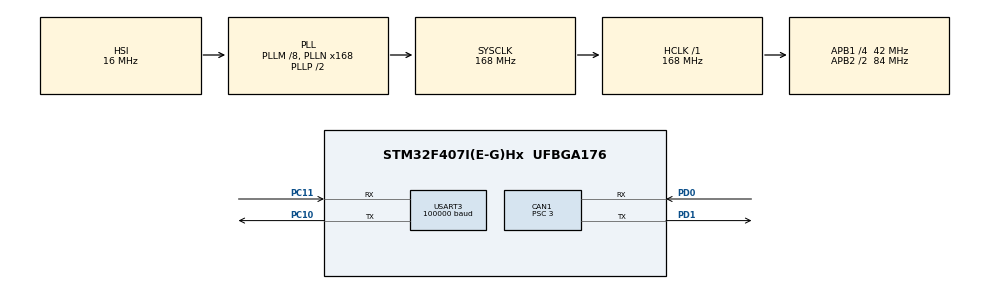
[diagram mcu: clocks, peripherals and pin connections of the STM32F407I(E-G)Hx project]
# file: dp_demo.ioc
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CAN1.ABOM=ENABLE
CAN1.BS1=CAN_BS1_10TQ
CAN1.BS2=CAN_BS2_3TQ
CAN1.CalculateBaudRate=1000000
CAN1.CalculateTimeBit=1000
CAN1.CalculateTimeQuantum=71.42857142857143
CAN1.Prescaler=3
Dma.Request0=USART3_RX
Dma.USART3_RX.0.Direction=DMA_PERIPH_TO_MEMORY
Dma.USART3_RX.0.FIFOMode=DMA_FIFOMODE_DISABLE
Dma.USART3_RX.0.Instance=DMA1_Stream1
Dma.USART3_RX.0.MemDataAlignment=DMA_MDATAALIGN_BYTE
Dma.USART3_RX.0.MemInc=DMA_MINC_ENABLE
Dma.USART3_RX.0.Mode=DMA_CIRCULAR
Dma.USART3_RX.0.PeriphDataAlignment=DMA_PDATAALIGN_BYTE
Dma.USART3_RX.0.PeriphInc=DMA_PINC_DISABLE
Dma.USART3_RX.0.Priority=DMA_PRIORITY_LOW
Mcu.Family=STM32F4
Mcu.Name=STM32F407I(E-G)Hx
Mcu.Package=UFBGA176
NVIC.DMA1_Stream1_IRQn=true\:0\:0\:false\:false\:true\:false\:true\:true
NVIC.PriorityGroup=NVIC_PRIORITYGROUP_4
NVIC.USART3_IRQn=true\:0\:0\:false\:false\:true\:true\:true\:true
PA13.Mode=Serial_Wire
PA13.Signal=SYS_JTMS-SWDIO
PA14.Mode=Serial_Wire
PA14.Signal=SYS_JTCK-SWCLK
PC10.Mode=Asynchronous
PC10.Signal=USART3_TX
PC11.Mode=Asynchronous
PC11.Signal=USART3_RX
PD0.Mode=CAN_Activate
PD0.Signal=CAN1_RX
PD1.Mode=CAN_Activate
PD1.Signal=CAN1_TX
PH0-OSC_IN.Mode=HSE-External-Oscillator
PH0-OSC_IN.Signal=RCC_OSC_IN
PH1-OSC_OUT.Mode=HSE-External-Oscillator
PH1-OSC_OUT.Signal=RCC_OSC_OUT
ProjectManager.HeapSize=0x200
ProjectManager.StackSize=0x400
ProjectManager.TargetToolchain=CMake
RCC.48MHZClocksFreq_Value=84000000
RCC.AHBFreq_Value=168000000
RCC.APB1CLKDivider=RCC_HCLK_DIV4
RCC.APB1Freq_Value=42000000
RCC.APB1TimFreq_Value=84000000
RCC.APB2CLKDivider=RCC_HCLK_DIV2
RCC.APB2Freq_Value=84000000
RCC.APB2TimFreq_Value=168000000
RCC.CortexFreq_Value=168000000
RCC.HCLKFreq_Value=168000000
RCC.HSE_VALUE=12000000
RCC.HSI_VALUE=16000000
RCC.LSE_VALUE=32768
RCC.PLLM=8
RCC.PLLN=168
RCC.SYSCLKFreq_VALUE=168000000
RCC.SYSCLKSource=RCC_SYSCLKSOURCE_PLLCLK
RCC.VCOOutputFreq_Value=336000000
USART3.BaudRate=100000
USART3.VirtualMode=VM_ASYNC
board=custom

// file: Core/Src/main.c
/* USER CODE BEGIN Header */
/**
  ******************************************************************************
  * @file           : main.c
  * @brief          : Main program body
  ******************************************************************************
  * @attention
  *
  * Copyright (c) 2025 STMicroelectronics.
  * All rights reserved.
  *
  * This software is licensed under terms that can be found in the LICENSE file
  * in the root directory of this software component.
  * If no LICENSE file comes with this software, it is provided AS-IS.
  *
  ******************************************************************************
  */
/* USER CODE END Header */
#include "main.h"
#include "can.h"
#include "dma.h"
#include "usart.h"
#include "gpio.h"

/* USER CODE BEGIN Includes */
#include "my_can.h"
#include "app_tasks.h"
#include "dbus.h"
#include "bsp_uart.h"
/* USER CODE END Includes */

void SystemClock_Config(void);

int main(void)
{

  /* MCU Configuration--------------------------------------------------------*/

  /* Reset of all peripherals, Initializes the Flash interface and the Systick. */
  HAL_Init();

  /* Configure the system clock */
  SystemClock_Config();

  /* Initialize all configured peripherals */
  MX_GPIO_Init();
  MX_DMA_Init();
  MX_CAN1_Init();
  MX_USART3_UART_Init();
  /* USER CODE BEGIN 2 */
  /* 初始化系统组件 */
  my_can_system_init();
  chassis_task_init();
  gimbal_task_init();

  /* 初始化DBUS双缓冲区串口系统 */
  HAL_Delay(100);  // 等待系统稳定
  DBUS_Init();

  /* 定义运动控制变量 */
  int16_t vx = 0, vy = 0, vw = 0;
  /* USER CODE END 2 */

  /* Infinite loop */
  while (1)
  {

    /* USER CODE BEGIN 3 */
    /* 监控遥控器连接状态 */
    Remote_Message_Moniter(&remote_ctrl);

    /* 静态变量用于状态变化检测 */
    static bool last_rc_status = true;  // 上次遥控器状态

    /* 检查遥控器连接状态变化 */
    if (last_rc_status != remote_ctrl.rc_lost)
    {
        last_rc_status = remote_ctrl.rc_lost;
    }

    /* 检查遥控器是否在线 */
    if (!remote_ctrl.rc_lost)
    {
        /* 左拨杆控制前后左右移动
         * remote_ctrl.rc.ch[1]: ���拨杆Y轴（前后）- 向上为正（前进）
         * remote_ctrl.rc.ch[0]: 左拨杆X轴（左右）- 向右为正（右移）
         * remote_ctrl.rc.ch[2]: 右拨杆X轴（旋转）- 向右为正（顺时针）
         * 遥控器数据范围: -660 到 +660
         */

        /* 前后控制（Y轴）- 向上推为前进 */
        vx = remote_ctrl.rc.ch[1] * 500 / 660;

        /* 左右控制（X轴）- 向右推为右移 */
        vy = remote_ctrl.rc.ch[0] * 500 / 660;

        /* 旋转控制（右拨杆X轴）- 可选功能 */
        if (switch_is_up(remote_ctrl.rc.s[0]))  // 左开关在上位时启用旋转
        {
            vw = remote_ctrl.rc.ch[2] * 300 / 660;
        }
        else
        {
            vw = 0;  // 其他情况下禁用旋转
        }

        /* 限制最大速度 */
        if (vx > 500) vx = 500;
        if (vx < -500) vx = -500;
        if (vy > 500) vy = 500;
        if (vy < -500) vy = -500;
        if (vw > 300) vw = 300;
        if (vw < -300) vw = -300;

    }
    else
    {
        /* 遥控器离线，停止运动 */
        vx = vy = vw = 0;
    }

    /* 设置底盘速度 */
    chassis_set_speed(vx, vy, vw);

    /* 发送底盘电机CAN命令 */
    chassis_send_current();

    /* 延时，避免CPU占用过高 */
    HAL_Delay(10);  /* 10ms延时，100Hz控制频率 */
  }
  /* USER CODE END 3 */
}

void SystemClock_Config(void)
{
  RCC_OscInitTypeDef RCC_OscInitStruct = {0};
  RCC_ClkInitTypeDef RCC_ClkInitStruct = {0};

  /** Configure the main internal regulator output voltage
  */
  __HAL_RCC_PWR_CLK_ENABLE();
  __HAL_PWR_VOLTAGESCALING_CONFIG(PWR_REGULATOR_VOLTAGE_SCALE1);

  /** Initializes the RCC Oscillators according to the specified parameters
  * in the RCC_OscInitTypeDef structure.
  */
  RCC_OscInitStruct.OscillatorType = RCC_OSCILLATORTYPE_HSI;
  RCC_OscInitStruct.HSIState = RCC_HSI_ON;
  RCC_OscInitStruct.HSICalibrationValue = RCC_HSICALIBRATION_DEFAULT;
  RCC_OscInitStruct.PLL.PLLState = RCC_PLL_ON;
  RCC_OscInitStruct.PLL.PLLSource = RCC_PLLSOURCE_HSI;
  RCC_OscInitStruct.PLL.PLLM = 8;
  RCC_OscInitStruct.PLL.PLLN = 168;
  RCC_OscInitStruct.PLL.PLLP = RCC_PLLP_DIV2;
  RCC_OscInitStruct.PLL.PLLQ = 4;
  if (HAL_RCC_OscConfig(&RCC_OscInitStruct) != HAL_OK)
  {
 //   Error_Handler();
  }

  /** Initializes the CPU, AHB and APB buses clocks
  */
  RCC_ClkInitStruct.ClockType = RCC_CLOCKTYPE_HCLK|RCC_CLOCKTYPE_SYSCLK
                              |RCC_CLOCKTYPE_PCLK1|RCC_CLOCKTYPE_PCLK2;
  RCC_ClkInitStruct.SYSCLKSource = RCC_SYSCLKSOURCE_PLLCLK;
  RCC_ClkInitStruct.AHBCLKDivider = RCC_SYSCLK_DIV1;
  RCC_ClkInitStruct.APB1CLKDivider = RCC_HCLK_DIV4;
  RCC_ClkInitStruct.APB2CLKDivider = RCC_HCLK_DIV2;

  if (HAL_RCC_ClockConfig(&RCC_ClkInitStruct, FLASH_LATENCY_5) != HAL_OK)
  {
    Error_Handler();
  }
}

void Error_Handler(void)
{
  __disable_irq();
  while (1)
  {
  }
}
